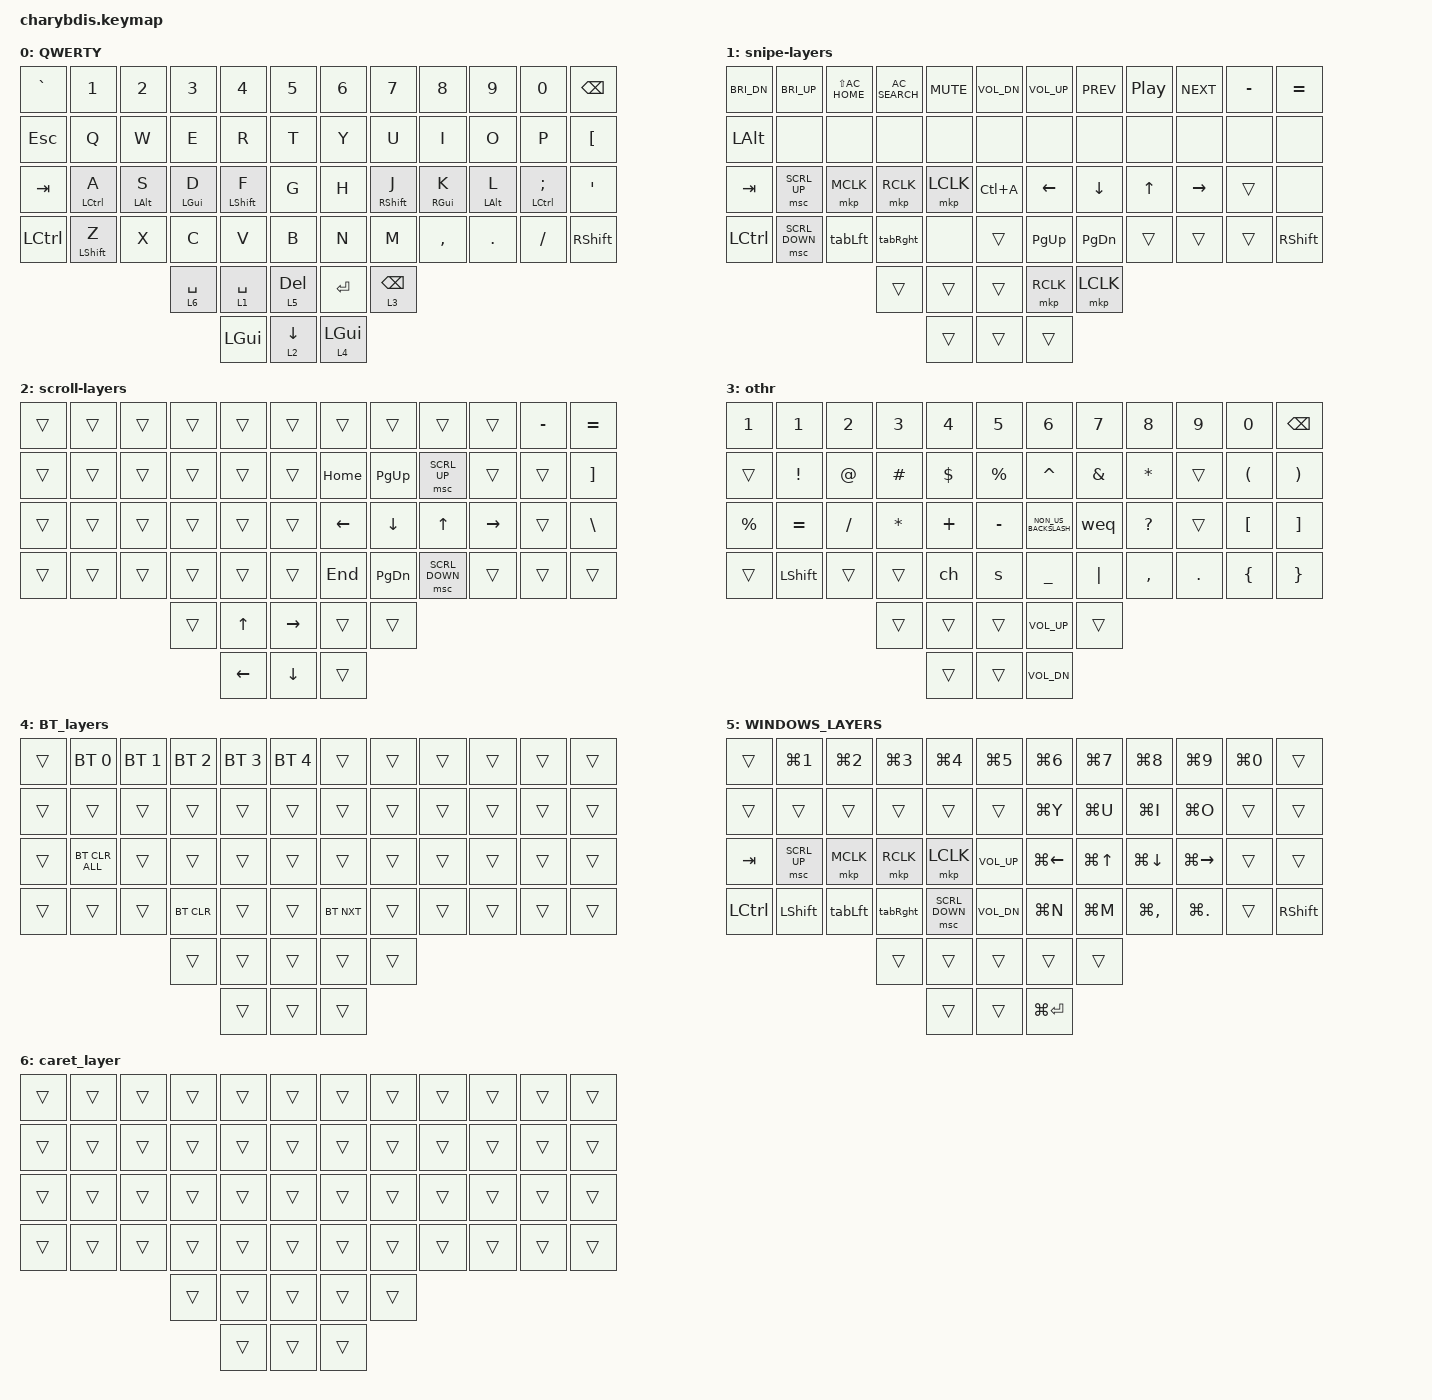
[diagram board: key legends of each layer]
#include <behaviors.dtsi>
#include <dt-bindings/zmk/bt.h>
#include <dt-bindings/zmk/keys.h>
#include <dt-bindings/zmk/pointing.h>

&mt {
    quick-tap-ms = <219>;
    #tapping-term-ms = <300>;
    flavor = "tap-preferred";
    #require-prior-idle-ms = <40>;  // Предотвращает случайные срабатывания при быстрой печати
};

&lt {
    #quick-tap-ms = <219>;
    #tapping-term-ms = <300>;
    flavor = "tap-preferred";
    #require-prior-idle-ms = <40>;
};

/ {
    combos {
        compatible = "zmk,combos";

        // Скобки — одновременное нажатие соседних клавиш

        combo_rbrace {
            timeout-ms = <50>;
            key-positions = <21 22>;  // O + P
            bindings = <&kp RBKT>;    // ]
        };

        combo_equal {
            timeout-ms = <50>;
            key-positions = <20 21>;  // I + O
            bindings = <&kp EQUAL>;    // =
        };

        combo_minus {
            timeout-ms = <50>;
            key-positions = <19 20>;  // U + I
            bindings = <&kp MINUS>;    // -
        };

        // Переключение языка — J + K одновременно
        // Переключение языка с Shift — D + F одновременно (Right Command + Shift + Space)
    };

    macros {
        s: s {
            compatible = "zmk,behavior-macro";
            #binding-cells = <0>;
            bindings = <&kp MINUS &kp GT>;
            label = "S";
        };

        ch: ch {
            compatible = "zmk,behavior-macro";
            #binding-cells = <0>;
            bindings = <&kp LT &kp MINUS>;
            label = "CH";
        };

        tabLft: tabLft {
            compatible = "zmk,behavior-macro";
            #binding-cells = <0>;
            bindings = <&kp LC(PG_UP)>;
            label = "TABLFT";
        };

        tabRght: tabRght {
            compatible = "zmk,behavior-macro";
            #binding-cells = <0>;
            bindings = <&kp LC(PAGE_DOWN)>;
            label = "TABRGHT";
        };

        weq: weq {
            compatible = "zmk,behavior-macro";
            #binding-cells = <0>;
            bindings = <&kp COLON &kp EQUAL>;
            label = "WEQ";
        };
    };

    keymap {
        compatible = "zmk,keymap";

        QWERTY {
            bindings = <
&kp GRAVE   &kp N1            &kp N2          &kp N3          &kp N4            &kp N5          &kp N6          &kp N7             &kp N8           &kp N9          &kp N0               &kp BACKSPACE
&kp ESCAPE  &kp Q             &kp W           &kp E           &kp R             &kp T           &kp Y           &kp U              &kp I            &kp O           &kp P                &kp LBKT
&kp TAB     &mt LCTRL A       &mt LEFT_ALT S  &mt LEFT_GUI D  &mt LEFT_SHIFT F  &kp G           &kp H           &mt RIGHT_SHIFT J  &mt RIGHT_GUI K  &mt LEFT_ALT L  &mt LCTRL SEMICOLON  &kp SQT
&kp LCTRL   &mt LEFT_SHIFT Z  &kp X           &kp C           &kp V             &kp B           &kp N           &kp M              &kp COMMA        &kp PERIOD      &kp FSLH             &kp RIGHT_SHIFT
                                              &lt 6 SPACE     &lt 1 SPACE       &lt 5 DELETE    &kp ENTER       &lt 3 BACKSPACE
                                                              &kp LGUI          &lt 2 DOWN      &lt 4 LEFT_GUI
            >;
        };

        snipe-layers {
            bindings = <
&kp C_BRI_DN  &kp C_BRI_UP    &kp LS(C_AC_HOME)  &kp C_AC_SEARCH  &kp K_MUTE  &kp C_VOL_DN    &kp C_VOL_UP  &kp C_PREV      &kp C_PP  &kp C_NEXT       &kp MINUS  &kp EQUAL
&kp LEFT_ALT  &none           &none              &none            &none       &none           &none         &none           &none     &none            &none      &none
&kp TAB       &msc SCRL_UP    &mkp MCLK          &mkp RCLK        &mkp LCLK   &kp LC(A)       &kp LEFT      &kp DOWN_ARROW  &kp UP    &kp RIGHT_ARROW  &trans     &none
&kp LCTRL     &msc SCRL_DOWN  &tabLft            &tabRght         &none       &trans          &kp PG_UP     &kp PG_DN       &trans    &trans           &trans     &kp RSHFT
                                                 &trans           &trans      &trans          &mkp RCLK     &mkp LCLK
                                                                  &trans      &trans          &trans
            >;
        };

        scroll-layers {
            bindings = <
&trans  &trans  &trans  &trans  &trans          &trans             &trans    &trans         &trans          &trans     &kp MINUS  &kp EQUAL
&trans  &trans  &trans  &trans  &trans          &trans             &kp HOME  &kp PAGE_UP    &msc SCRL_UP    &trans     &trans     &kp RBKT
&trans  &trans  &trans  &trans  &trans          &trans             &kp LEFT  &kp DOWN       &kp UP          &kp RIGHT  &trans     &kp BACKSLASH
&trans  &trans  &trans  &trans  &trans          &trans             &kp END   &kp PAGE_DOWN  &msc SCRL_DOWN  &trans     &trans     &trans
                        &trans  &kp UP_ARROW    &kp RIGHT_ARROW    &trans    &trans
                                &kp LEFT_ARROW  &kp DOWN_ARROW     &trans
            >;
        };

        othr {
            bindings = <
&kp NUMBER_1  &kp NUMBER_1     &kp NUMBER_2  &kp NUMBER_3  &kp NUMBER_4  &kp NUMBER_5    &kp NUMBER_6          &kp N7    &kp N8        &kp N9      &kp N0                &kp BACKSPACE
&trans        &kp EXCLAMATION  &kp AT_SIGN   &kp HASH      &kp DOLLAR    &kp PERCENT     &kp CARET             &kp AMPS  &kp ASTRK     &trans      &kp LEFT_PARENTHESIS  &kp RIGHT_PARENTHESIS
&kp PERCENT   &kp EQUAL        &kp SLASH     &kp ASTERISK  &kp PLUS      &kp MINUS       &kp NON_US_BACKSLASH  &weq      &kp QUESTION  &trans      &kp LEFT_BRACKET      &kp RIGHT_BRACKET
&trans        &kp LEFT_SHIFT   &trans        &trans        &ch           &s              &kp UNDERSCORE        &kp PIPE  &kp COMMA     &kp PERIOD  &kp LEFT_BRACE        &kp RIGHT_BRACE
                                             &trans        &trans        &trans          &kp C_VOLUME_UP       &trans
                                                           &trans        &trans          &kp C_VOL_DN
            >;
        };

        BT_layers {
            bindings = <
&trans  &bt BT_SEL 0    &bt BT_SEL 1  &bt BT_SEL 2  &bt BT_SEL 3  &bt BT_SEL 4    &trans      &trans  &trans  &trans  &trans  &trans
&trans  &trans          &trans        &trans        &trans        &trans          &trans      &trans  &trans  &trans  &trans  &trans
&trans  &bt BT_CLR_ALL  &trans        &trans        &trans        &trans          &trans      &trans  &trans  &trans  &trans  &trans
&trans  &trans          &trans        &bt BT_CLR    &trans        &trans          &bt BT_NXT  &trans  &trans  &trans  &trans  &trans
                                      &trans        &trans        &trans          &trans      &trans
                                                    &trans        &trans          &trans
            >;
        };

        WINDOWS_LAYERS {
            bindings = <
&trans     &kp LG(NUMBER_1)  &kp LG(NUMBER_2)  &kp LG(NUMBER_3)  &kp LG(NUMBER_4)  &kp LG(N5)         &kp LG(NUMBER_6)  &kp LG(N7)        &kp LG(N8)          &kp LG(N9)     &kp LG(N0)  &trans
&trans     &trans            &trans            &trans            &trans            &trans             &kp LG(Y)         &kp LG(U)         &kp LG(I)           &kp LG(O)      &trans      &trans
&kp TAB    &msc SCRL_UP      &mkp MCLK         &mkp RCLK         &mkp LCLK         &kp C_VOLUME_UP    &kp LG(LEFT)      &kp LG(UP_ARROW)  &kp LG(DOWN_ARROW)  &kp LG(RIGHT)  &trans      &trans
&kp LCTRL  &kp LEFT_SHIFT    &tabLft           &tabRght          &msc SCRL_DOWN    &kp C_VOL_DN       &kp LG(N)         &kp LG(M)         &kp LG(COMMA)       &kp LG(DOT)    &trans      &kp RIGHT_SHIFT
                                               &trans            &trans            &trans             &trans            &trans
                                                                 &trans            &trans             &kp LG(ENTER)
            >;
        };

        // Layer 6: CARET — трекбол двигает текстовый курсор (стрелки) вместо мыши
        // Все клавиши прозрачны, клавиатура работает как обычно

        caret_layer {
            bindings = <
&trans  &trans  &trans  &trans  &trans  &trans    &trans  &trans  &trans  &trans  &trans  &trans
&trans  &trans  &trans  &trans  &trans  &trans    &trans  &trans  &trans  &trans  &trans  &trans
&trans  &trans  &trans  &trans  &trans  &trans    &trans  &trans  &trans  &trans  &trans  &trans
&trans  &trans  &trans  &trans  &trans  &trans    &trans  &trans  &trans  &trans  &trans  &trans
                        &trans  &trans  &trans    &trans  &trans
                                &trans  &trans    &trans
            >;
        };
    };
};
